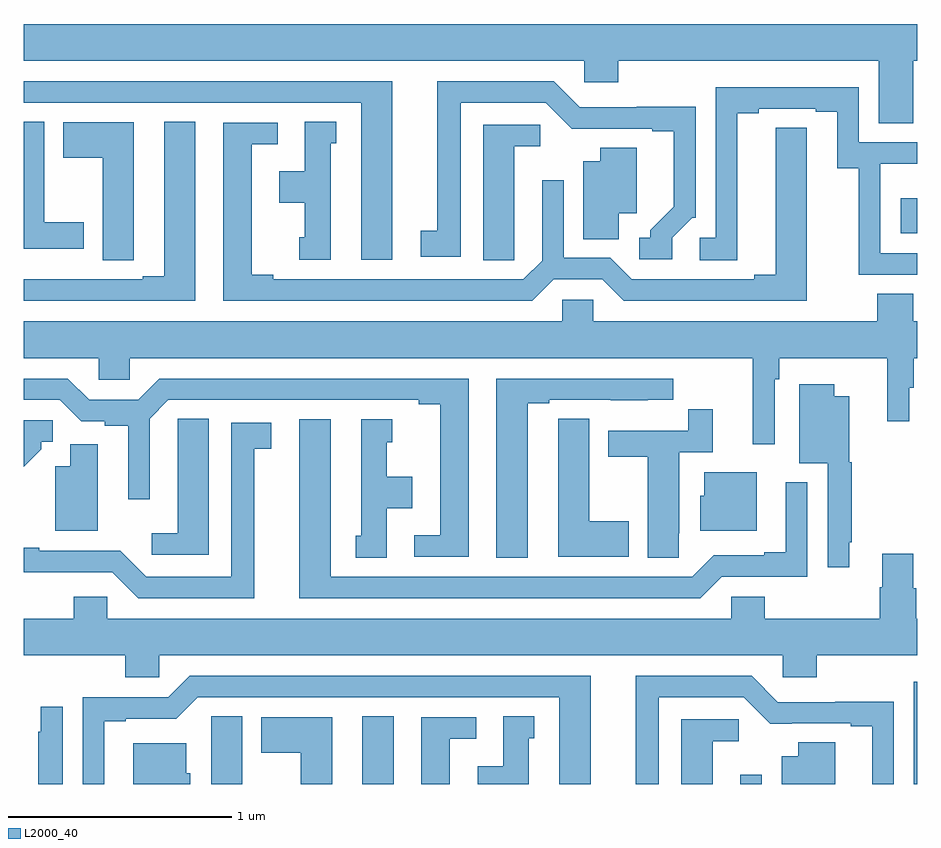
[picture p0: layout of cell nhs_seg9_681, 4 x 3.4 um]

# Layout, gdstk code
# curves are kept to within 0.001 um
import gdstk
lib = gdstk.Library(unit=1e-6, precision=1e-09)
def R(c, l, rs):  # rectangles x0, y0, x1, y1
    for r in rs: c.add(gdstk.rectangle(r[:2], r[2:], *l))
def P(c, l, *ps):  # polygons
    for p in ps: c.add(gdstk.Polygon(p, *l))
L2000_40 = (2000, 40)

nhs_seg9_681 = lib.new_cell('nhs_seg9_681')
R(nhs_seg9_681, L2000_40, [(146.516,1206.5,146.656,1206.803), (148.209,1206.5,148.305,1206.541), (148.986,1206.5,149,1206.957), (148.926,1208.966,149,1209.124)])
P(nhs_seg9_681, L2000_40, [(148.982,1209.74),(149,1209.74),(149,1209.904),(145,1209.904),(145,1209.74),(147.51,1209.74),(147.51,1209.642),(147.662,1209.642),(147.662,1209.74),(148.829,1209.74),(148.829,1209.46),(148.982,1209.46)],
  [(147.903,1208.946),(147.993,1209.036),(148.008,1209.036),(148.008,1209.533),(147.745,1209.533),(147.745,1209.531),(147.489,1209.531),(147.372,1209.648),(146.852,1209.648),(146.852,1208.978),(146.778,1208.978),(146.778,1208.862),(146.956,1208.862),(146.956,1209.552),(147.336,1209.552),(147.454,1209.434),(147.815,1209.435),(147.815,1209.423),(147.911,1209.423),(147.911,1209.086),(147.806,1208.981),(147.806,1208.946),(147.756,1208.946),(147.756,1208.85),(147.903,1208.85)],
  [(146.65,1209.648),(145,1209.648),(145,1209.552),(146.51,1209.552),(146.51,1208.847),(146.65,1208.847)],
  [(149,1208.877),(148.836,1208.877),(148.836,1209.278),(148.838,1209.278),(148.838,1209.279),(149,1209.279),(149,1209.375),(148.74,1209.375),(148.74,1209.621),(148.098,1209.621),(148.098,1208.946),(148.026,1208.946),(148.026,1208.845),(148.195,1208.845),(148.195,1209.505),(148.291,1209.505),(148.291,1209.525),(148.547,1209.525),(148.547,1209.51),(148.643,1209.51),(148.643,1209.259),(148.738,1209.259),(148.738,1208.781),(149,1208.781)],
  [(145.267,1209.015),(145.09,1209.015),(145.09,1209.467),(145,1209.467),(145,1208.898),(145.267,1208.898)],
  [(145.768,1209.467),(145.628,1209.467),(145.628,1208.775),(145.532,1208.775),(145.532,1208.76),(145.256,1208.76),(145.256,1208.761),(145.09,1208.761),(145.09,1208.76),(145,1208.76),(145,1208.664),(145.768,1208.664)],
  [(146.374,1209.369),(146.398,1209.369),(146.398,1209.467),(146.258,1209.467),(146.258,1209.244),(146.144,1209.244),(146.144,1209.104),(146.258,1209.104),(146.258,1208.949),(146.234,1208.949),(146.234,1208.847),(146.374,1208.847)],
  [(145.491,1208.953),(145.492,1208.953),(145.492,1209.463),(145.175,1209.463),(145.175,1209.304),(145.352,1209.304),(145.352,1208.845),(145.491,1208.845)],
  [(147.373,1208.76),(147.591,1208.76),(147.687,1208.664),(148.507,1208.664),(148.506,1209.44),(148.367,1209.44),(148.367,1208.78),(148.271,1208.78),(148.271,1208.76),(147.723,1208.76),(147.627,1208.856),(147.417,1208.856),(147.417,1209.205),(147.321,1209.205),(147.321,1208.844),(147.237,1208.76),(146.116,1208.76),(146.116,1208.78),(146.02,1208.78),(146.02,1209.366),(146.137,1209.366),(146.137,1209.462),(145.892,1209.462),(145.892,1208.664),(147.277,1208.664)],
  [(147.195,1208.953),(147.196,1208.953),(147.196,1209.356),(147.313,1209.356),(147.313,1209.453),(147.056,1209.453),(147.056,1208.845),(147.195,1208.845)],
  [(147.664,1209.056),(147.745,1209.056),(147.745,1209.35),(147.581,1209.35),(147.581,1209.289),(147.506,1209.289),(147.506,1208.941),(147.664,1208.941)],
  [(148.362,1208.312),(148.382,1208.312),(148.382,1208.408),(148.867,1208.408),(148.867,1208.124),(148.966,1208.124),(148.966,1208.274),(148.985,1208.274),(148.985,1208.408),(149,1208.408),(149,1208.572),(148.982,1208.572),(148.982,1208.696),(148.822,1208.696),(148.822,1208.572),(147.549,1208.572),(147.549,1208.67),(147.411,1208.67),(147.411,1208.572),(145,1208.572),(145,1208.408),(145.335,1208.408),(145.335,1208.31),(145.473,1208.31),(145.473,1208.408),(148.265,1208.408),(148.265,1208.022),(148.362,1208.022)],
  [(146.992,1208.316),(145.607,1208.316),(145.511,1208.22),(145.293,1208.22),(145.197,1208.316),(145,1208.316),(145,1208.22),(145.161,1208.22),(145.257,1208.124),(145.362,1208.124),(145.362,1208.104),(145.466,1208.104),(145.466,1207.776),(145.563,1207.776),(145.563,1208.136),(145.647,1208.22),(146.768,1208.22),(146.768,1208.2),(146.864,1208.2),(146.864,1207.614),(146.748,1207.614),(146.748,1207.518),(146.992,1207.518)],
  [(147.256,1208.205),(147.352,1208.205),(147.352,1208.22),(147.628,1208.22),(147.628,1208.219),(147.794,1208.219),(147.794,1208.22),(147.907,1208.22),(147.907,1208.316),(147.116,1208.316),(147.116,1207.513),(147.256,1207.513)],
  [(148.696,1207.582),(148.708,1207.582),(148.708,1207.941),(148.696,1207.941),(148.696,1208.236),(148.63,1208.236),(148.63,1208.29),(148.472,1208.29),(148.472,1207.937),(148.599,1207.937),(148.599,1207.47),(148.696,1207.47)],
  [(147.933,1207.624),(147.934,1207.624),(147.934,1207.986),(148.085,1207.986),(148.085,1208.179),(147.976,1208.179),(147.976,1208.082),(147.617,1208.082),(147.617,1207.966),(147.794,1207.966),(147.794,1207.513),(147.933,1207.513)],
  [(147.709,1207.677),(147.532,1207.677),(147.532,1208.135),(147.393,1208.135),(147.393,1208.027),(147.392,1208.027),(147.392,1207.517),(147.709,1207.517)],
  [(145.828,1208.135),(145.689,1208.135),(145.689,1208.027),(145.688,1208.027),(145.688,1207.624),(145.572,1207.624),(145.572,1207.527),(145.828,1207.527)],
  [(146.626,1207.736),(146.74,1207.736),(146.74,1207.876),(146.626,1207.876),(146.626,1208.031),(146.65,1208.031),(146.65,1208.134),(146.51,1208.134),(146.51,1207.611),(146.486,1207.611),(146.486,1207.513),(146.626,1207.513)],
  [(148.125,1207.428),(148.509,1207.428),(148.509,1207.852),(148.412,1207.852),(148.412,1207.537),(148.316,1207.537),(148.316,1207.524),(148.089,1207.524),(147.993,1207.428),(146.374,1207.428),(146.374,1208.134),(146.234,1208.134),(146.234,1207.332),(148.029,1207.332)],
  [(145.078,1207.999),(145.078,1208.034),(145.128,1208.034),(145.128,1208.13),(145,1208.13),(145,1207.921)],
  [(146.032,1208.002),(146.107,1208.002),(146.107,1208.118),(145.928,1208.118),(145.928,1207.428),(145.548,1207.428),(145.431,1207.545),(145.069,1207.545),(145.069,1207.558),(145,1207.558),(145,1207.448),(145.395,1207.449),(145.512,1207.332),(146.032,1207.332)],
  [(145.33,1208.022),(145.208,1208.022),(145.208,1207.924),(145.139,1207.924),(145.139,1207.634),(145.33,1207.634)],
  [(148.282,1207.897),(148.046,1207.897),(148.046,1207.791),(148.028,1207.791),(148.028,1207.634),(148.282,1207.634)],
  [(148.984,1207.377),(148.984,1207.531),(148.844,1207.531),(148.844,1207.382),(148.832,1207.382),(148.832,1207.24),(148.319,1207.24),(148.319,1207.338),(148.167,1207.338),(148.167,1207.24),(145.374,1207.24),(145.374,1207.338),(145.223,1207.338),(145.223,1207.24),(145,1207.24),(145,1207.076),(145.454,1207.076),(145.454,1206.978),(145.605,1206.978),(145.605,1207.076),(148.398,1207.076),(148.398,1206.978),(148.55,1206.978),(148.55,1207.076),(149,1207.076),(149,1207.24),(148.997,1207.24),(148.997,1207.377)],
  [(145.36,1206.78),(145.456,1206.78),(145.456,1206.792),(145.683,1206.792),(145.779,1206.888),(147.398,1206.888),(147.398,1206.5),(147.538,1206.5),(147.538,1206.984),(145.743,1206.984),(145.647,1206.888),(145.263,1206.888),(145.263,1206.5),(145.36,1206.5)],
  [(147.844,1206.888),(148.224,1206.888),(148.342,1206.77),(148.703,1206.771),(148.703,1206.759),(148.799,1206.759),(148.799,1206.5),(148.896,1206.5),(148.896,1206.869),(148.633,1206.869),(148.633,1206.867),(148.377,1206.867),(148.26,1206.984),(147.74,1206.984),(147.74,1206.5),(147.844,1206.5)],
  [(145.173,1206.847),(145.076,1206.847),(145.076,1206.734),(145.065,1206.734),(145.065,1206.5),(145.173,1206.5)],
  [(145.978,1206.803),(145.839,1206.803),(145.839,1206.692),(145.838,1206.692),(145.838,1206.5),(145.978,1206.5)],
  [(147.262,1206.705),(147.286,1206.705),(147.286,1206.803),(147.146,1206.803),(147.146,1206.58),(147.032,1206.58),(147.032,1206.5),(147.262,1206.5)],
  [(146.38,1206.799),(146.063,1206.799),(146.063,1206.64),(146.24,1206.64),(146.24,1206.5),(146.38,1206.5)],
  [(146.908,1206.702),(147.025,1206.702),(147.025,1206.798),(146.78,1206.798),(146.78,1206.5),(146.908,1206.5)],
  [(148.084,1206.692),(148.201,1206.692),(148.201,1206.789),(147.944,1206.789),(147.944,1206.5),(148.084,1206.5)],
  [(148.633,1206.686),(148.469,1206.686),(148.469,1206.625),(148.394,1206.625),(148.394,1206.5),(148.633,1206.5)],
  [(145.744,1206.549),(145.726,1206.549),(145.726,1206.682),(145.49,1206.682),(145.49,1206.5),(145.744,1206.5)])

lib.write_gds('nhs_seg9_681.gds')
